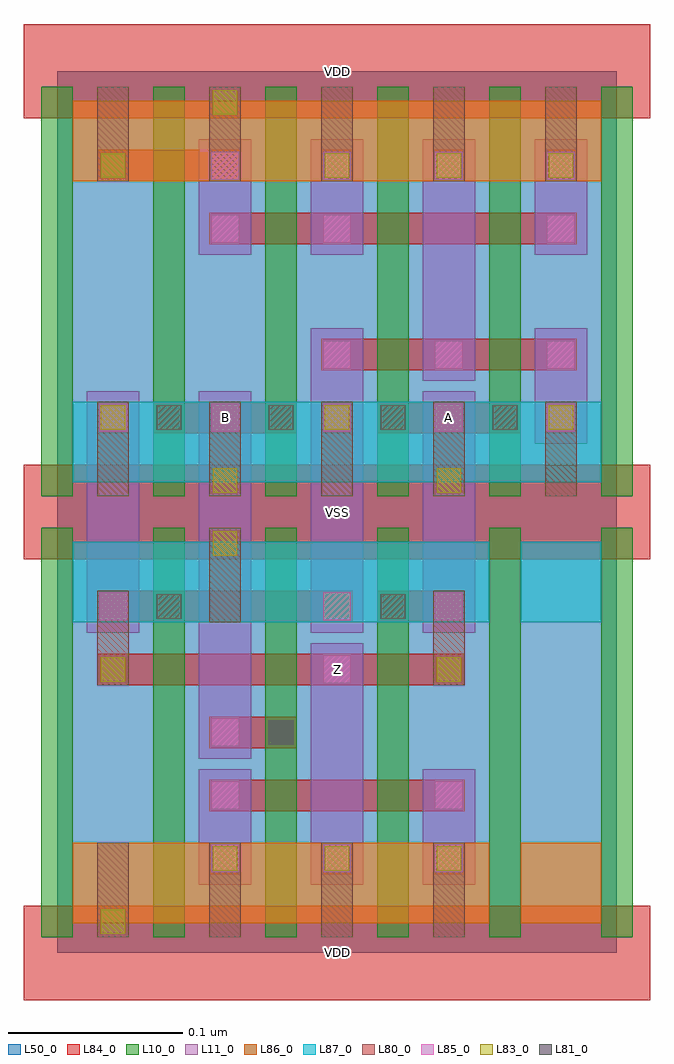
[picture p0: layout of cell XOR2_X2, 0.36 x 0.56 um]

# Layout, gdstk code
import gdstk
lib = gdstk.Library(unit=1e-6, precision=1e-09)
def R(c, l, rs):  # rectangles x0, y0, x1, y1
    for r in rs: c.add(gdstk.rectangle(r[:2], r[2:], *l))
def A(c, l, x, y, w, h, nx, ny, dx, dy):  # array of equal rectangles
    R(c, l, [(x+i*dx, y+j*dy, x+i*dx+w, y+j*dy+h) for i in range(nx) for j in range(ny)])
L10_0 = (10, 0)
L11_0 = (11, 0)
L50_0 = (50, 0)
L80_0 = (80, 0)
L81_0 = (81, 0)
L83_0 = (83, 0)
L84_0 = (84, 0)
L85_0 = (85, 0)
L86_0 = (86, 0)
L87_0 = (87, 0)

xor2_x2 = lib.new_cell('XOR2_X2')
A(xor2_x2, L10_0, -0.009, 0.009, 0.018, 0.234, 6, 2, 0.064, 0.252)
R(xor2_x2, L11_0, [(0.081,0.039,0.111,0.105), (0.145,0.039,0.175,0.177), (0.209,0.039,0.239,0.105), (0.081,0.111,0.111,0.321), (0.017,0.183,0.047,0.321), (0.145,0.183,0.175,0.357), (0.209,0.183,0.239,0.321), (0.273,0.291,0.303,0.357), (0.209,0.327,0.239,0.465), (0.081,0.399,0.111,0.465), (0.145,0.399,0.175,0.465), (0.273,0.399,0.303,0.465)])
R(xor2_x2, L50_0, [(0,0,0.32,0.504)])
A(xor2_x2, L80_0, 0.023, 0.009, 0.018, 0.054, 4, 1, 0.064, 0)
A(xor2_x2, L80_0, 0.023, 0.261, 0.018, 0.054, 5, 2, 0.064, 0.18)
R(xor2_x2, L80_0, [(0.023,0.153,0.041,0.207), (0.215,0.153,0.233,0.207), (0.087,0.189,0.105,0.243)])
A(xor2_x2, L81_0, 0.057, 0.299, 0.014, 0.014, 4, 1, 0.064, 0)
R(xor2_x2, L81_0, [(0.121,0.119,0.135,0.133), (0.057,0.191,0.071,0.205), (0.185,0.191,0.199,0.205)])
A(xor2_x2, L83_0, 0.089, 0.047, 0.014, 0.014, 3, 1, 0.064, 0)
A(xor2_x2, L83_0, 0.025, 0.299, 0.014, 0.014, 3, 1, 0.128, 0)
A(xor2_x2, L83_0, 0.153, 0.443, 0.014, 0.014, 3, 1, 0.064, 0)
R(xor2_x2, L83_0, [(0.025,0.011,0.039,0.025), (0.025,0.155,0.039,0.169), (0.217,0.155,0.231,0.169), (0.089,0.227,0.103,0.241), (0.089,0.263,0.103,0.277), (0.217,0.263,0.231,0.277), (0.025,0.443,0.039,0.457), (0.089,0.479,0.103,0.493)])
A(xor2_x2, L84_0, -0.019, -0.027, 0.358, 0.054, 1, 3, 0, 0.252)
A(xor2_x2, L84_0, 0.087, 0.045, 0.018, 0.018, 3, 1, 0.064, 0)
A(xor2_x2, L84_0, 0.023, 0.297, 0.018, 0.018, 3, 1, 0.128, 0)
A(xor2_x2, L84_0, 0.151, 0.441, 0.018, 0.018, 3, 1, 0.064, 0)
R(xor2_x2, L84_0, [(0.087,0.081,0.233,0.099), (0.087,0.117,0.137,0.135), (0.023,0.153,0.233,0.171), (0.023,0.189,0.169,0.207), (0.183,0.189,0.233,0.207), (0.055,0.297,0.137,0.315), (0.183,0.297,0.265,0.315), (0.151,0.333,0.297,0.351), (0.087,0.405,0.297,0.423), (0.023,0.441,0.105,0.459)])
A(xor2_x2, L85_0, 0.088, 0.046, 0.016, 0.016, 3, 1, 0.064, 0)
A(xor2_x2, L85_0, 0.024, 0.298, 0.016, 0.016, 5, 1, 0.064, 0)
A(xor2_x2, L85_0, 0.152, 0.334, 0.016, 0.016, 3, 1, 0.064, 0)
A(xor2_x2, L85_0, 0.088, 0.442, 0.016, 0.016, 4, 1, 0.064, 0)
R(xor2_x2, L85_0, [(0.088,0.082,0.104,0.098), (0.216,0.082,0.232,0.098), (0.088,0.118,0.104,0.134), (0.152,0.154,0.168,0.17), (0.024,0.19,0.04,0.206), (0.152,0.19,0.168,0.206), (0.216,0.19,0.232,0.206), (0.088,0.406,0.104,0.422), (0.152,0.406,0.168,0.422), (0.28,0.406,0.296,0.422)])
R(xor2_x2, L86_0, [(0.009,0.017,0.247,0.063), (0.265,0.017,0.311,0.063), (0.009,0.441,0.311,0.487)])
R(xor2_x2, L87_0, [(0.009,0.189,0.247,0.235), (0.265,0.189,0.311,0.235), (0.009,0.269,0.311,0.315)])
xor2_x2.add(gdstk.Label('VDD', (0.16,0.504), layer=88, texttype=0))
xor2_x2.add(gdstk.Label('VDD', (0.16,0), layer=88, texttype=0))
xor2_x2.add(gdstk.Label('VSS', (0.16,0.252), layer=88, texttype=0))
xor2_x2.add(gdstk.Label('A', (0.224,0.306), layer=31, texttype=0))
xor2_x2.add(gdstk.Label('Z', (0.16,0.162), layer=31, texttype=0))
xor2_x2.add(gdstk.Label('B', (0.096,0.306), layer=31, texttype=0))

lib.write_gds('XOR2_X2.gds')
